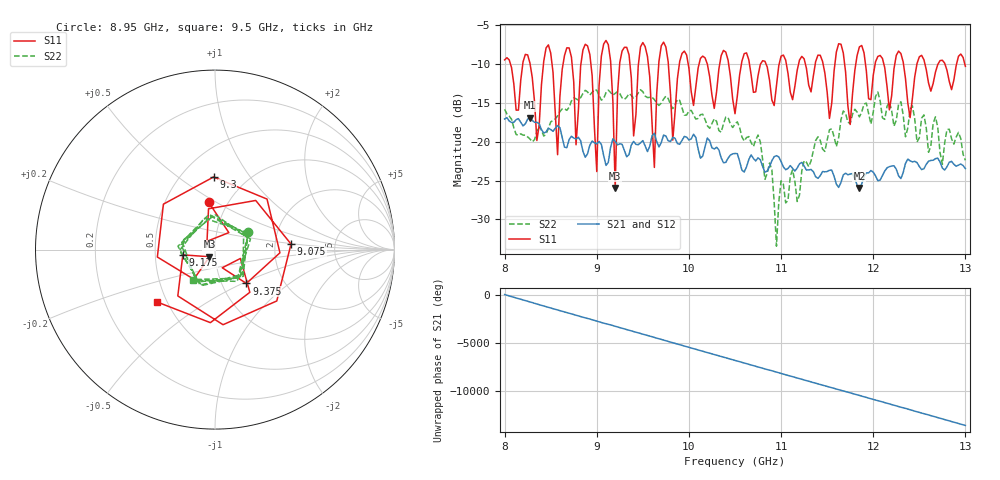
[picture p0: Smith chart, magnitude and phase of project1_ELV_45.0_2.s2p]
! 10/29/2026 4:03:49 PM
! C:\ANRITSUVNA\TEMP\TEMP.S2P
! CHANNEL.1
! TR.MEASUREMENT
! RAW.DATA
# HZ S RI R 50.0
! FREQ.HZ  S11RE  S11IM  S21RE  S21IM  S12RE  S12IM  S22RE  S22IM
!; PortSelection: Port_12
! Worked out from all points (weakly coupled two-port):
!   201 points, 8 GHz to 13 GHz, reference 50 ohm
!   highest |S21| = -16.90 dB at 8.275 GHz (marker M1); lowest = -26.0 dB at 11.85 GHz (marker M2)
!   lowest |S11| = -25.9 dB at 9.2 GHz (marker M3), VSWR 1.11, Z = 46.9 - j3.75 ohm
!   |S11| at or under -10 dB: 10.2 GHz to 10.33 GHz (135.3 MHz wide, 1.32 % of centre); 10.84 GHz to 10.98 GHz (143.2 MHz wide, 1.31 % of centre); 12.56 GHz to 12.7 GHz (143.1 MHz wide, 1.13 % of centre) (the widest 3 of 24)
!   |S22| runs from -33.4 to -13.3 dB; largest |S21 - S12| = 0.041
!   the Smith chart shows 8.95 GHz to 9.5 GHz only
!   S11 on the Smith chart (normalised r, x): 8.95 GHz: 0.82, +0.46; 9.075 GHz: 2.46, +0.19; 9.175 GHz: 0.70, -0.04; 9.3 GHz: 0.71, +0.69; 9.375 GHz: 1.30, -0.53; 9.5 GHz: 0.44, -0.32
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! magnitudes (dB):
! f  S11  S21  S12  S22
! 8 GHz  -9.5  -17.1  -17.3  -15.8
! 8.275 GHz  -9.9  -16.9  -17.2  -19.6
! 8.35 GHz  -19.8  -17.5  -17.5  -18.7
! 8.475 GHz  -7.6  -18.3  -18.4  -18.3
! 8.575 GHz  -21.7  -17.9  -17.8  -16.7
! 8.85 GHz  -8.2  -21.2  -21.3  -13.8
! 8.95 GHz  -11.5  -19.9  -19.9  -13.7
! 9 GHz  -23.8  -20.3  -20.5  -13.4
! 9.075 GHz  -7.4  -21.8  -22.0  -14.4
! 9.175 GHz  -14.8  -19.6  -19.7  -14.0
! 9.2 GHz  -25.9  -20.0  -20.0  -13.8
! 9.3 GHz  -7.9  -21.2  -21.1  -14.6
! 9.375 GHz  -11.8  -20.4  -20.4  -14.0
! 9.5 GHz  -7.2  -19.9  -19.8  -13.6
! 9.625 GHz  -23.3  -18.9  -18.9  -14.6
! 9.675 GHz  -9.6  -20.7  -20.7  -15.3
! 10.5 GHz  -16.4  -21.5  -21.6  -17.7
! 10.95 GHz  -12.8  -21.8  -21.7  -33.4
! 11.35 GHz  -11.6  -23.9  -23.9  -21.2
! 11.85 GHz  -7.8  -26.0  -26.0  -16.8
! 12.18 GHz  -15.9  -23.2  -23.3  -14.9
! 13 GHz  -10.3  -23.5  -23.6  -22.4
